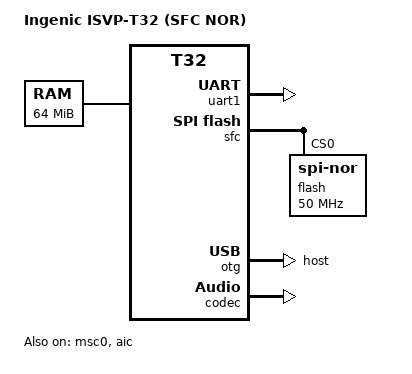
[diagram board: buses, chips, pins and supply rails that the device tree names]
// SPDX-License-Identifier: GPL-2.0+

/dts-v1/;

#include <dt-bindings/gpio/gpio.h>
#include "t32.dtsi"

/ {
	compatible = "ingenic,isvp-t32", "ingenic,t32";
	model = "Ingenic ISVP-T32 (SFC NOR)";

	aliases {
		serial1 = &uart1;
	};

	chosen {
		stdout-path = "serial1:115200n8";
	};

	memory {
		device_type = "memory";
		reg = <0x0 0x04000000>;	/* 64 MB DDR2 (M14D5121632A) */
	};
};

&uart1 {
	status = "okay";
};

&sfc {
	status = "okay";

	flash@0 {
		compatible = "jedec,spi-nor";
		reg = <0>;
		spi-max-frequency = <50000000>;
	};
};

&msc0 {
	status = "okay";
};

&otg {
	status = "okay";
	/* Host by default; USB-NIC and mass-storage commands need a
	 * host controller. Switch to "peripheral" via the dedicated
	 * isvp_t32_usbboot defconfig + DT pair for DFU loads. */
	dr_mode = "host";
};

&aic {
	status = "okay";
};

&codec {
	status = "okay";
	ingenic,spk-gpio = <&gpb 31 GPIO_ACTIVE_LOW>;
};

&sound {
	status = "okay";
};
